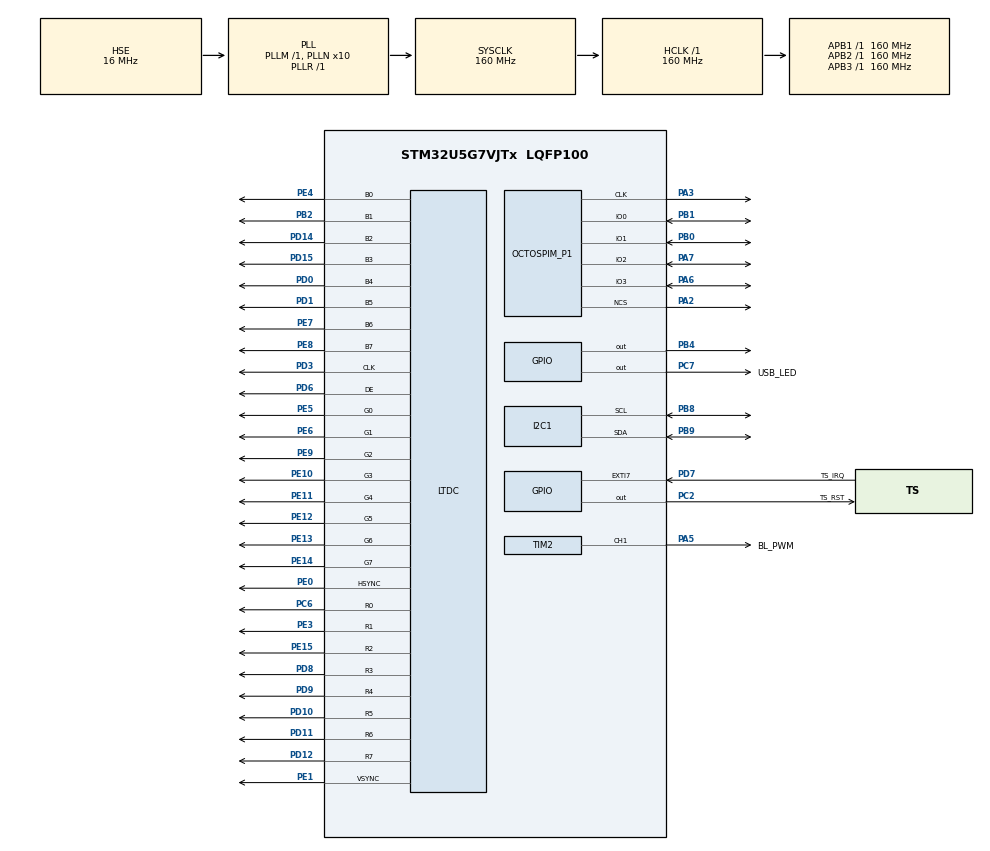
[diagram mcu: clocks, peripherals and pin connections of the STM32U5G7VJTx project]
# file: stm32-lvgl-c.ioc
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CORTEX_M33_NS.AccessPermission-Cortex_Memory_Protection_Unit_Region0_Settings=MPU_REGION_ALL_RW
CORTEX_M33_NS.AllocateAttribute0=MPU_NO_ALLOCATE
CORTEX_M33_NS.Attributes-Cortex_Memory_Protection_Unit_Region0_Settings=MPU_NOT_CACHEABLE
CORTEX_M33_NS.Attributes0=MPU_ATTRIBUTES_NUMBER0
CORTEX_M33_NS.AttributesIndex-Cortex_Memory_Protection_Unit_Region0_Settings=MPU_ATTRIBUTES_NUMBER0
CORTEX_M33_NS.BaseAddress-Cortex_Memory_Protection_Unit_Region0_Settings=0x70000000
CORTEX_M33_NS.CacheableAttribute0=MPU_WRITE_THROUGH
CORTEX_M33_NS.DisableExec-Cortex_Memory_Protection_Unit_Region0_Settings=MPU_INSTRUCTION_ACCESS_DISABLE
CORTEX_M33_NS.Enable-Cortex_Memory_Protection_Unit_Region0_Settings=MPU_REGION_ENABLE
CORTEX_M33_NS.LimitAddress-Cortex_Memory_Protection_Unit_Region0_Settings=0x70400000
CORTEX_M33_NS.MPU_Control=__NULL
CORTEX_M33_NS.Memorytype0=MPU_CACHEABLE
CORTEX_M33_NS.TransientAttribute0=MPU_TRANSIENT
CORTEX_M33_NS.userName=CORTEX_M33
DMA2D.ColorMode=DMA2D_OUTPUT_RGB888
DMA2D.Mode=DMA2D_M2M
I2C1.Timing=0x30909DEC
LTDC.ActiveH=480
LTDC.ActiveW=800
LTDC.Alpha_L0=255
LTDC.BlendingFactor1_L0=LTDC_BLENDING_FACTOR1_PAxCA
LTDC.BlendingFactor2_L0=LTDC_BLENDING_FACTOR2_PAxCA
LTDC.HBP=8
LTDC.HFP=8
LTDC.HSync=4
LTDC.ImageHeight_L0=480
LTDC.ImageWidth_L0=800
LTDC.Layers=0
LTDC.PixelFormat_L0=LTDC_PIXEL_FORMAT_RGB888
LTDC.VBP=16
LTDC.VFP=16
LTDC.WindowX1_L0=800
LTDC.WindowY0_L0=0
LTDC.WindowY1_L0=480
Mcu.Family=STM32U5
Mcu.Name=STM32U5G7VJTx
Mcu.Package=LQFP100
NVIC.EXTI7_IRQn=true\:5\:0\:true\:false\:true\:true\:true\:true
NVIC.GPU2D_ER_IRQn=true\:0\:0\:false\:false\:true\:false\:true\:true
NVIC.GPU2D_IRQn=true\:0\:0\:false\:false\:true\:false\:true\:true
NVIC.I2C1_EV_IRQn=true\:6\:0\:true\:false\:true\:true\:true\:true
NVIC.LTDC_IRQn=true\:7\:0\:true\:false\:true\:true\:true\:true
NVIC.PriorityGroup=NVIC_PRIORITYGROUP_4
OCTOSPI1.ChipSelectBoundary=0
OCTOSPI1.ChipSelectHighTime=2
OCTOSPI1.DelayHoldQuarterCycle=HAL_OSPI_DHQC_DISABLE
OCTOSPI1.DeviceSize=21
OCTOSPI1.DeviceType=SPI_DEVICE_FLASH
OCTOSPI1.FreeRunningClock=HAL_OSPI_FREERUNCLK_DISABLE
PA10.Signal=USART1_RX
PA13\ (JTMS/SWDIO).Mode=Trace_Synchro_4bits_JTAG
PA13\ (JTMS/SWDIO).Signal=DEBUG_JTMS-SWDIO
PA14\ (JTCK/SWCLK).Mode=Trace_Synchro_4bits_JTAG
PA14\ (JTCK/SWCLK).Signal=DEBUG_JTCK-SWCLK
PA15\ (JTDI).Mode=Trace_Synchro_4bits_JTAG
PA15\ (JTDI).Signal=DEBUG_JTDI
PA2.Mode=OCTOSPI1_Port1_NCS
PA2.Signal=OCTOSPIM_P1_NCS
PA3.Mode=O1_P1_CLK
PA3.Signal=OCTOSPIM_P1_CLK
PA5.GPIO_Label=BL_PWM
PA5.Signal=S_TIM2_CH1
PA6.Mode=OCTOSPI1_IOL_Port1L
PA6.Signal=OCTOSPIM_P1_IO3
PA7.Mode=OCTOSPI1_IOL_Port1L
PA7.Signal=OCTOSPIM_P1_IO2
PA9.Signal=USART1_TX
PB0.Mode=OCTOSPI1_IOL_Port1L
PB0.Signal=OCTOSPIM_P1_IO1
PB1.Mode=OCTOSPI1_IOL_Port1L
PB1.Signal=OCTOSPIM_P1_IO0
PB13.Signal=SPI2_SCK
PB14.Signal=SPI2_MISO
PB15.Signal=SPI2_MOSI
PB2.Mode=RGB888
PB2.Signal=LTDC_B1
PB3\ (JTDO/TRACESWO).Mode=Trace_Synchro_4bits_JTAG
PB3\ (JTDO/TRACESWO).Signal=DEBUG_JTDO-SWO
PB4\ (NJTRST).PinAttribute=Free
PB4\ (NJTRST).Signal=GPIO_Output
PB5.GPIO_Label=BUZZER
PB5.PinAttribute=Free
PB5.Signal=S_TIM3_CH2
PB8.Mode=I2C
PB8.Signal=I2C1_SCL
PB9.Mode=I2C
PB9.Signal=I2C1_SDA
PC10.Mode=Trace_Synchro_4bits_JTAG
PC10.Signal=DEBUG_TRACED1
PC12.Mode=Trace_Synchro_4bits_JTAG
PC12.Signal=DEBUG_TRACED3
PC2.GPIO_Label=TS_RST
PC2.Signal=GPIO_Output
PC4.Signal=USART3_TX
PC6.Mode=RGB888
PC6.Signal=LTDC_R0
PC7.GPIO_Label=USB_LED
PC7.Signal=GPIO_Output
PC9.Mode=Trace_Synchro_4bits_JTAG
PC9.Signal=DEBUG_TRACED0
PD0.Mode=RGB888
PD0.Signal=LTDC_B4
PD1.Mode=RGB888
PD1.PinAttribute=Free
PD1.Signal=LTDC_B5
PD10.Mode=RGB888
PD10.Signal=LTDC_R5
PD11.Mode=RGB888
PD11.Signal=LTDC_R6
PD12.Mode=RGB888
PD12.Signal=LTDC_R7
PD14.Mode=RGB888
PD14.Signal=LTDC_B2
PD15.Mode=RGB888
PD15.Signal=LTDC_B3
PD2.Mode=Trace_Synchro_4bits_JTAG
PD2.Signal=DEBUG_TRACED2
PD3.Mode=RGB888
PD3.PinAttribute=Free
PD3.Signal=LTDC_CLK
PD6.Mode=RGB888
PD6.PinAttribute=Free
PD6.Signal=LTDC_DE
PD7.GPIO_Label=TS_IRQ
PD7.PinAttribute=Free
PD7.Signal=GPXTI7
PD8.Mode=RGB888
PD8.Signal=LTDC_R3
PD9.Mode=RGB888
PD9.Signal=LTDC_R4
PE0.Mode=RGB888
PE0.Signal=LTDC_HSYNC
PE1.Mode=RGB888
PE1.Signal=LTDC_VSYNC
PE10.Mode=RGB888
PE10.Signal=LTDC_G3
PE11.Mode=RGB888
PE11.Signal=LTDC_G4
PE12.Mode=RGB888
PE12.Signal=LTDC_G5
PE13.Mode=RGB888
PE13.Signal=LTDC_G6
PE14.Mode=RGB888
PE14.Signal=LTDC_G7
PE15.Mode=RGB888
PE15.Signal=LTDC_R2
PE2.Mode=Trace_Synchro_4bits_JTAG
PE2.Signal=DEBUG_TRACECLK
PE3.Mode=RGB888
PE3.Signal=LTDC_R1
PE4.Mode=RGB888
PE4.Signal=LTDC_B0
PE5.Mode=RGB888
PE5.Signal=LTDC_G0
PE6.Mode=RGB888
PE6.Signal=LTDC_G1
PE7.Mode=RGB888
PE7.Signal=LTDC_B6
PE8.Mode=RGB888
PE8.Signal=LTDC_B7
PE9.Mode=RGB888
PE9.Signal=LTDC_G2
PH0-OSC_IN\ (PH0).Mode=HSE-External-Oscillator
PH0-OSC_IN\ (PH0).Signal=RCC_OSC_IN
PH1-OSC_OUT\ (PH1).Mode=HSE-External-Oscillator
PH1-OSC_OUT\ (PH1).Signal=RCC_OSC_OUT
ProjectManager.HeapSize=0x400
ProjectManager.StackSize=0x400
ProjectManager.TargetToolchain=STM32CubeIDE
RCC.ADCFreq_Value=16000000
RCC.AHBFreq_Value=160000000
RCC.APB1Freq_Value=160000000
RCC.APB1TimFreq_Value=160000000
RCC.APB2Freq_Value=160000000
RCC.APB2TimFreq_Value=160000000
RCC.APB3Freq_Value=160000000
RCC.CortexFreq_Value=160000000
RCC.EPOD_VALUE=16000000
RCC.HCLKFreq_Value=160000000
RCC.HSE_VALUE=16000000
RCC.HSI48_VALUE=48000000
RCC.HSICalibrationValue=16
RCC.HSI_VALUE=16000000
RCC.LSE_VALUE=32768
RCC.LSIDIV_VALUE=32000
RCC.LTDCCLockSelection=RCC_LTDCCLKSOURCE_PLL3
RCC.MSIClockRange=RCC_MSIRANGE_0
RCC.MSI_VALUE=48000000
RCC.OCTOSPIMCLockSelection=RCC_OSPICLKSOURCE_PLL2
RCC.PLL1P=8
RCC.PLL1R=1
RCC.PLL2FRACN=0
RCC.PLL2M=4
RCC.PLL2N=66
RCC.PLL2Q=4
RCC.PLL2Source=RCC_PLLSOURCE_HSE
RCC.PLL3FRACN=0
RCC.PLL3M=4
RCC.PLL3N=50
RCC.PLL3R=8
RCC.PLL3Source=RCC_PLLSOURCE_HSE
RCC.PLLFRACN=0
RCC.PLLN=10
RCC.PLLSourceVirtual=RCC_PLLSOURCE_HSE
RCC.SYSCLKFreq_VALUE=160000000
RCC.SYSCLKSource=RCC_SYSCLKSOURCE_PLLCLK
RCC.VCOOutputFreq_Value=160000000
SH.S_TIM2_CH1.0=TIM2_CH1,PWM Generation1 CH1
SH.S_TIM3_CH2.0=TIM3_CH2
TIM2.Channel-PWM\ Generation1\ CH1=TIM_CHANNEL_1
TIM2.ClockDivision=TIM_CLOCKDIVISION_DIV4
TIM2.PeriodNoDither=40000
TIM2.PulseNoDither_1=35000
VP_DCACHE1_VS_DCACHE.Mode=DCACHE_Activate
VP_DCACHE2_VS_DCACHE.Mode=DCACHE_Activate
VP_DMA2D_VS_DMA2D.Mode=DMA2D_Activate
VP_GPU2D_VS_GPU2D.Mode=GPU2D_Activate
VP_ICACHE_VS_ICACHE.Mode=DirectMappedCache
VP_LPBAMQUEUE_VS_QUEUE.Mode=QUEUEMODE
VP_LPBAM_VS_SIG1.Mode=SmartRun
VP_LPBAM_VS_SIG4.Mode=LPDMA1
VP_MEMORYMAP_VS_MEMORYMAP.Mode=CurAppReg
VP_OCTOSPI1_VS_quad.Mode=quad_mode
VP_PWR_VS_SECSignals.Mode=Security/Privilege
board=custom

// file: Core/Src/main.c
/* USER CODE BEGIN Header */
/**
  ******************************************************************************
  * @file           : main.c
  * @brief          : Main program body
  ******************************************************************************
  * @attention
  *
  * Copyright (c) 2024 STMicroelectronics.
  * All rights reserved.
  *
  * This software is licensed under terms that can be found in the LICENSE file
  * in the root directory of this software component.
  * If no LICENSE file comes with this software, it is provided AS-IS.
  *
  ******************************************************************************
  */
/* USER CODE END Header */
#include "main.h"

/* USER CODE BEGIN Includes */
#include "lvgl/lvgl.h"
#include "lvgl/demos/lv_demos.h"
#include "hal_stm_lvgl/tft/tft.h"
#include "hal_stm_lvgl/touchpad/touchpad.h"
#include "hal_stm_lvgl/scene/scene.h"
#include "hal_is25lp032d/is25lp032d_lae.h"
#include "hal_is25lp032d/is25lp032d.h"

//#define DELAY_TICKER
#ifdef DELAY_TICKER
#include <stdio.h>
#endif

/* USER CODE END Includes */

DCACHE_HandleTypeDef hdcache1;
DCACHE_HandleTypeDef hdcache2;

DMA2D_HandleTypeDef hdma2d;

GPU2D_HandleTypeDef hgpu2d;

I2C_HandleTypeDef hi2c1;

LTDC_HandleTypeDef hltdc;

OSPI_HandleTypeDef hospi1;

TIM_HandleTypeDef htim2;

void SystemClock_Config(void);
static void MX_GPIO_Init(void);
static void MX_I2C1_Init(void);
static void MX_LTDC_Init(void);
static void MX_OCTOSPI1_Init(void);
static void MX_DMA2D_Init(void);
static void MX_ICACHE_Init(void);
static void MX_DCACHE1_Init(void);
static void MX_DCACHE2_Init(void);
static void MX_GPU2D_Init(void);
static void MX_TIM2_Init(void);

int main(void)
{

  /* MCU Configuration--------------------------------------------------------*/

  /* Reset of all peripherals, Initializes the Flash interface and the Systick. */
  HAL_Init();

  /* Configure the system clock */
  SystemClock_Config();

  /* Initialize all configured peripherals */
  MX_GPIO_Init();
  MX_I2C1_Init();
  MX_LTDC_Init();
  MX_OCTOSPI1_Init();
  MX_DMA2D_Init();
  MX_ICACHE_Init();
  MX_DCACHE1_Init();
  MX_DCACHE2_Init();
  MX_GPU2D_Init();
  MX_TIM2_Init();
  /* USER CODE BEGIN 2 */
  HAL_TIM_PWM_Start(&htim2, TIM_CHANNEL_1);
  tft_init();
  touchpad_init();
  // lv_demo_benchmark();
  // create_test_scene();
  create_image_scroller();
  // create_image_library();
#ifdef DELAY_TICKER
  uint32_t ticker = HAL_GetTick();
  uint32_t delay = 0;
#endif
  /* USER CODE END 2 */

  /* Infinite loop */
  while (1)
  {

    /* USER CODE BEGIN 3 */
    uint32_t timestamp = HAL_GetTick();
  	lv_timer_handler();
#ifndef DELAY_TICKER
    if ((HAL_GetTick() - timestamp) <= 15)
      HAL_Delay(1);
#else
    if ((HAL_GetTick() - timestamp) >= 3)
    {
      // the last call was the actual rendering
      if ((HAL_GetTick() - ticker) >= 10000)
      {
        ticker = HAL_GetTick();
        delay++;
        printf("delay: %ld\n", delay);
      }
      HAL_Delay(delay);
    }
#endif

    // update_image_position();
  }
  /* USER CODE END 3 */
}

void SystemClock_Config(void)
{
  RCC_OscInitTypeDef RCC_OscInitStruct = {0};
  RCC_ClkInitTypeDef RCC_ClkInitStruct = {0};

  /** Configure the main internal regulator output voltage
  */
  if (HAL_PWREx_ControlVoltageScaling(PWR_REGULATOR_VOLTAGE_SCALE1) != HAL_OK)
  {
    Error_Handler();
  }

  /** Initializes the CPU, AHB and APB buses clocks
  */
  RCC_OscInitStruct.OscillatorType = RCC_OSCILLATORTYPE_HSE;
  RCC_OscInitStruct.HSEState = RCC_HSE_ON;
  RCC_OscInitStruct.PLL.PLLState = RCC_PLL_ON;
  RCC_OscInitStruct.PLL.PLLSource = RCC_PLLSOURCE_HSE;
  RCC_OscInitStruct.PLL.PLLMBOOST = RCC_PLLMBOOST_DIV1;
  RCC_OscInitStruct.PLL.PLLM = 1;
  RCC_OscInitStruct.PLL.PLLN = 10;
  RCC_OscInitStruct.PLL.PLLP = 8;
  RCC_OscInitStruct.PLL.PLLQ = 2;
  RCC_OscInitStruct.PLL.PLLR = 1;
  RCC_OscInitStruct.PLL.PLLRGE = RCC_PLLVCIRANGE_1;
  RCC_OscInitStruct.PLL.PLLFRACN = 0;
  if (HAL_RCC_OscConfig(&RCC_OscInitStruct) != HAL_OK)
  {
    Error_Handler();
  }

  /** Initializes the CPU, AHB and APB buses clocks
  */
  RCC_ClkInitStruct.ClockType = RCC_CLOCKTYPE_HCLK|RCC_CLOCKTYPE_SYSCLK
                              |RCC_CLOCKTYPE_PCLK1|RCC_CLOCKTYPE_PCLK2
                              |RCC_CLOCKTYPE_PCLK3;
  RCC_ClkInitStruct.SYSCLKSource = RCC_SYSCLKSOURCE_PLLCLK;
  RCC_ClkInitStruct.AHBCLKDivider = RCC_SYSCLK_DIV1;
  RCC_ClkInitStruct.APB1CLKDivider = RCC_HCLK_DIV1;
  RCC_ClkInitStruct.APB2CLKDivider = RCC_HCLK_DIV1;
  RCC_ClkInitStruct.APB3CLKDivider = RCC_HCLK_DIV1;

  if (HAL_RCC_ClockConfig(&RCC_ClkInitStruct, FLASH_LATENCY_4) != HAL_OK)
  {
    Error_Handler();
  }
}

static void MX_DCACHE1_Init(void)
{

  hdcache1.Instance = DCACHE1;
  hdcache1.Init.ReadBurstType = DCACHE_READ_BURST_WRAP;
  if (HAL_DCACHE_Init(&hdcache1) != HAL_OK)
  {
    Error_Handler();
  }

}

static void MX_DCACHE2_Init(void)
{

  hdcache2.Instance = DCACHE2;
  hdcache2.Init.ReadBurstType = DCACHE_READ_BURST_WRAP;
  if (HAL_DCACHE_Init(&hdcache2) != HAL_OK)
  {
    Error_Handler();
  }
   __HAL_RCC_SYSCFG_CLK_ENABLE();
   HAL_SYSCFG_DisableSRAMCached();

}

static void MX_DMA2D_Init(void)
{

  hdma2d.Instance = DMA2D;
  hdma2d.Init.Mode = DMA2D_M2M;
  hdma2d.Init.ColorMode = DMA2D_OUTPUT_RGB888;
  hdma2d.Init.OutputOffset = 0;
  hdma2d.Init.BytesSwap = DMA2D_BYTES_REGULAR;
  hdma2d.Init.LineOffsetMode = DMA2D_LOM_PIXELS;
  hdma2d.LayerCfg[1].InputOffset = 0;
  hdma2d.LayerCfg[1].InputColorMode = DMA2D_INPUT_RGB888;
  hdma2d.LayerCfg[1].AlphaMode = DMA2D_NO_MODIF_ALPHA;
  hdma2d.LayerCfg[1].InputAlpha = 0;
  hdma2d.LayerCfg[1].AlphaInverted = DMA2D_REGULAR_ALPHA;
  hdma2d.LayerCfg[1].RedBlueSwap = DMA2D_RB_REGULAR;
  if (HAL_DMA2D_Init(&hdma2d) != HAL_OK)
  {
    Error_Handler();
  }
  if (HAL_DMA2D_ConfigLayer(&hdma2d, 1) != HAL_OK)
  {
    Error_Handler();
  }

}

static void MX_GPU2D_Init(void)
{

  hgpu2d.Instance = GPU2D;
  if (HAL_GPU2D_Init(&hgpu2d) != HAL_OK)
  {
    Error_Handler();
  }

}

static void MX_I2C1_Init(void)
{

  hi2c1.Instance = I2C1;
  hi2c1.Init.Timing = 0x30909DEC;
  hi2c1.Init.OwnAddress1 = 0;
  hi2c1.Init.AddressingMode = I2C_ADDRESSINGMODE_7BIT;
  hi2c1.Init.DualAddressMode = I2C_DUALADDRESS_DISABLE;
  hi2c1.Init.OwnAddress2 = 0;
  hi2c1.Init.OwnAddress2Masks = I2C_OA2_NOMASK;
  hi2c1.Init.GeneralCallMode = I2C_GENERALCALL_DISABLE;
  hi2c1.Init.NoStretchMode = I2C_NOSTRETCH_DISABLE;
  if (HAL_I2C_Init(&hi2c1) != HAL_OK)
  {
    Error_Handler();
  }

  /** Configure Analogue filter
  */
  if (HAL_I2CEx_ConfigAnalogFilter(&hi2c1, I2C_ANALOGFILTER_ENABLE) != HAL_OK)
  {
    Error_Handler();
  }

  /** Configure Digital filter
  */
  if (HAL_I2CEx_ConfigDigitalFilter(&hi2c1, 0) != HAL_OK)
  {
    Error_Handler();
  }

}

static void MX_ICACHE_Init(void)
{

  /** Enable instruction cache in 1-way (direct mapped cache)
  */
  if (HAL_ICACHE_ConfigAssociativityMode(ICACHE_1WAY) != HAL_OK)
  {
    Error_Handler();
  }
  if (HAL_ICACHE_Enable() != HAL_OK)
  {
    Error_Handler();
  }

}

static void MX_LTDC_Init(void)
{

  LTDC_LayerCfgTypeDef pLayerCfg = {0};

  hltdc.Instance = LTDC;
  hltdc.Init.HSPolarity = LTDC_HSPOLARITY_AL;
  hltdc.Init.VSPolarity = LTDC_VSPOLARITY_AL;
  hltdc.Init.DEPolarity = LTDC_DEPOLARITY_AL;
  hltdc.Init.PCPolarity = LTDC_PCPOLARITY_IPC;
  hltdc.Init.HorizontalSync = 3;
  hltdc.Init.VerticalSync = 3;
  hltdc.Init.AccumulatedHBP = 11;
  hltdc.Init.AccumulatedVBP = 19;
  hltdc.Init.AccumulatedActiveW = 811;
  hltdc.Init.AccumulatedActiveH = 499;
  hltdc.Init.TotalWidth = 819;
  hltdc.Init.TotalHeigh = 515;
  hltdc.Init.Backcolor.Blue = 0;
  hltdc.Init.Backcolor.Green = 0;
  hltdc.Init.Backcolor.Red = 0;
  if (HAL_LTDC_Init(&hltdc) != HAL_OK)
  {
    Error_Handler();
  }
  pLayerCfg.WindowX0 = 0;
  pLayerCfg.WindowX1 = 800;
  pLayerCfg.WindowY0 = 0;
  pLayerCfg.WindowY1 = 480;
  pLayerCfg.PixelFormat = LTDC_PIXEL_FORMAT_RGB888;
  pLayerCfg.Alpha = 255;
  pLayerCfg.Alpha0 = 0;
  pLayerCfg.BlendingFactor1 = LTDC_BLENDING_FACTOR1_PAxCA;
  pLayerCfg.BlendingFactor2 = LTDC_BLENDING_FACTOR2_PAxCA;
  pLayerCfg.FBStartAdress = 0;
  pLayerCfg.ImageWidth = 800;
  pLayerCfg.ImageHeight = 480;
  pLayerCfg.Backcolor.Blue = 0;
  pLayerCfg.Backcolor.Green = 0;
  pLayerCfg.Backcolor.Red = 0;
  if (HAL_LTDC_ConfigLayer(&hltdc, &pLayerCfg, 0) != HAL_OK)
  {
    Error_Handler();
  }

}

static void MX_OCTOSPI1_Init(void)
{

  OSPIM_CfgTypeDef sOspiManagerCfg = {0};
  HAL_OSPI_DLYB_CfgTypeDef HAL_OSPI_DLYB_Cfg_Struct = {0};

  /* OCTOSPI1 parameter configuration*/
  hospi1.Instance = OCTOSPI1;
  hospi1.Init.FifoThreshold = 1;
  hospi1.Init.DualQuad = HAL_OSPI_DUALQUAD_DISABLE;
  hospi1.Init.MemoryType = HAL_OSPI_MEMTYPE_MICRON;
  hospi1.Init.DeviceSize = 21;
  hospi1.Init.ChipSelectHighTime = 2;
  hospi1.Init.FreeRunningClock = HAL_OSPI_FREERUNCLK_DISABLE;
  hospi1.Init.ClockMode = HAL_OSPI_CLOCK_MODE_0;
  hospi1.Init.WrapSize = HAL_OSPI_WRAP_NOT_SUPPORTED;
  hospi1.Init.ClockPrescaler = 1;
  hospi1.Init.SampleShifting = HAL_OSPI_SAMPLE_SHIFTING_NONE;
  hospi1.Init.DelayHoldQuarterCycle = HAL_OSPI_DHQC_DISABLE;
  hospi1.Init.ChipSelectBoundary = 0;
  hospi1.Init.DelayBlockBypass = HAL_OSPI_DELAY_BLOCK_BYPASSED;
  hospi1.Init.MaxTran = 0;
  hospi1.Init.Refresh = 0;
  if (HAL_OSPI_Init(&hospi1) != HAL_OK)
  {
    Error_Handler();
  }
  sOspiManagerCfg.ClkPort = 1;
  sOspiManagerCfg.NCSPort = 1;
  sOspiManagerCfg.IOLowPort = HAL_OSPIM_IOPORT_1_LOW;
  if (HAL_OSPIM_Config(&hospi1, &sOspiManagerCfg, HAL_OSPI_TIMEOUT_DEFAULT_VALUE) != HAL_OK)
  {
    Error_Handler();
  }
  HAL_OSPI_DLYB_Cfg_Struct.Units = 0;
  HAL_OSPI_DLYB_Cfg_Struct.PhaseSel = 0;
  if (HAL_OSPI_DLYB_SetConfig(&hospi1, &HAL_OSPI_DLYB_Cfg_Struct) != HAL_OK)
  {
    Error_Handler();
  }
  /* USER CODE BEGIN OCTOSPI1_Init 2 */

// #define USE_IS25LP032D_LAE_DRIVER
// #define USE_IS25LP032D_CUSTOM_STR_DRIVER
#define USE_IS25LP032D_CUSTOM_DTR_DRIVER

  /* Reset flash memory */
  if (IS25LP032D_ResetEnable(&hospi1, IS25LP032D_SPI_MODE) != IS25LP032D_OK)
    Error_Handler();

  if (IS25LP032D_ResetMemory(&hospi1, IS25LP032D_SPI_MODE) != IS25LP032D_OK)
    Error_Handler();

  if (IS25LP032D_ResetEnable(&hospi1, IS25LP032D_QPI_MODE) != IS25LP032D_OK)
    Error_Handler();

  if (IS25LP032D_ResetMemory(&hospi1, IS25LP032D_QPI_MODE) != IS25LP032D_OK)
    Error_Handler();

  HAL_Delay(IS25LP032D_RESET_MAX_TIME);

  /* Enable write operations */
  if (IS25LP032D_WriteEnable(&hospi1, IS25LP032D_SPI_MODE) != IS25LP032D_OK)
    Error_Handler();

  //   /* Write Configuration register 2 (with new dummy cycles) */
  //   MX66UW1G45G_WriteCfg2Register(&hxspi1, MX66UW1G45G_SPI_MODE, MX66UW1G45G_STR_TRANSFER, MX66UW1G45G_CR2_REG3_ADDR, MX66UW1G45G_CR2_DC_6_CYCLES);

  //   /* Enable write operations */
  //   MX66UW1G45G_WriteEnable(&hxspi1, MX66UW1G45G_SPI_MODE, MX66UW1G45G_STR_TRANSFER);

  /* Clear QE (if set) and enable QPI mode  */
  uint8_t status_register = 0;
  if (IS25LP032D_ReadStatusRegister(&hospi1, IS25LP032D_SPI_MODE, &status_register) != IS25LP032D_OK)
    Error_Handler();

  status_register &= ~IS25LP032D_SR_QE_QUAD_ENABLE;

  if (IS25LP032D_WriteStatusRegister(&hospi1, IS25LP032D_SPI_MODE, status_register) != IS25LP032D_OK)
    Error_Handler();

  HAL_Delay(IS25LP032D_WRITE_REG_MAX_TIME);

#if defined(USE_IS25LP032D_CUSTOM_STR_DRIVER) || defined(USE_IS25LP032D_CUSTOM_DTR_DRIVER)
  if (IS25LP032D_EnterQPIMode(&hospi1) != IS25LP032D_OK)
    Error_Handler();

  /* Enable memory mapped mode with STR transfers */
#ifdef USE_IS25LP032D_CUSTOM_STR_DRIVER
  if (IS25LP032D_EnableMemoryMappedModeSTR(&hospi1, IS25LP032D_QPI_MODE) != IS25LP032D_OK)
    Error_Handler();
#else
  if (IS25LP032D_EnableMemoryMappedModeDTR(&hospi1, IS25LP032D_QPI_MODE) != IS25LP032D_OK)
    Error_Handler();
#endif

#elif defined(USE_IS25LP032D_LAE_DRIVER)

  if (OSPI_ResetChip() != HAL_OK)
    Error_Handler();

  HAL_Delay(5);

  if (OSPI_WriteEnable() != HAL_OK)
    Error_Handler();

  if (OSPI_Configuration() != HAL_OK)
    Error_Handler();

  if(OSPI_EnableMemoryMappedMode() != HAL_OK)
    Error_Handler();
#else
  #error "No flash driver selected"
#endif

  /* USER CODE END OCTOSPI1_Init 2 */

}

static void MX_TIM2_Init(void)
{

  TIM_MasterConfigTypeDef sMasterConfig = {0};
  TIM_OC_InitTypeDef sConfigOC = {0};

  htim2.Instance = TIM2;
  htim2.Init.Prescaler = 0;
  htim2.Init.CounterMode = TIM_COUNTERMODE_UP;
  htim2.Init.Period = 40000;
  htim2.Init.ClockDivision = TIM_CLOCKDIVISION_DIV4;
  htim2.Init.AutoReloadPreload = TIM_AUTORELOAD_PRELOAD_DISABLE;
  if (HAL_TIM_PWM_Init(&htim2) != HAL_OK)
  {
    Error_Handler();
  }
  sMasterConfig.MasterOutputTrigger = TIM_TRGO_RESET;
  sMasterConfig.MasterSlaveMode = TIM_MASTERSLAVEMODE_DISABLE;
  if (HAL_TIMEx_MasterConfigSynchronization(&htim2, &sMasterConfig) != HAL_OK)
  {
    Error_Handler();
  }
  sConfigOC.OCMode = TIM_OCMODE_PWM1;
  sConfigOC.Pulse = 35000;
  sConfigOC.OCPolarity = TIM_OCPOLARITY_HIGH;
  sConfigOC.OCFastMode = TIM_OCFAST_DISABLE;
  if (HAL_TIM_PWM_ConfigChannel(&htim2, &sConfigOC, TIM_CHANNEL_1) != HAL_OK)
  {
    Error_Handler();
  }
  HAL_TIM_MspPostInit(&htim2);

}

static void MX_GPIO_Init(void)
{
  GPIO_InitTypeDef GPIO_InitStruct = {0};

  /* GPIO Ports Clock Enable */
  __HAL_RCC_GPIOE_CLK_ENABLE();
  __HAL_RCC_GPIOC_CLK_ENABLE();
  __HAL_RCC_GPIOH_CLK_ENABLE();
  __HAL_RCC_GPIOA_CLK_ENABLE();
  __HAL_RCC_GPIOB_CLK_ENABLE();
  __HAL_RCC_GPIOD_CLK_ENABLE();

  /*Configure GPIO pin Output Level */
  HAL_GPIO_WritePin(GPIOC, TS_RST_Pin|USB_LED_Pin, GPIO_PIN_RESET);

  /*Configure GPIO pin Output Level */
  HAL_GPIO_WritePin(GPIOB, GPIO_PIN_4, GPIO_PIN_RESET);

  /*Configure GPIO pins : PC13 PC14 PC15 PC0
                           PC1 PC3 PC5 PC8
                           PC11 */
  GPIO_InitStruct.Pin = GPIO_PIN_13|GPIO_PIN_14|GPIO_PIN_15|GPIO_PIN_0
                          |GPIO_PIN_1|GPIO_PIN_3|GPIO_PIN_5|GPIO_PIN_8
                          |GPIO_PIN_11;
  GPIO_InitStruct.Mode = GPIO_MODE_ANALOG;
  GPIO_InitStruct.Pull = GPIO_NOPULL;
  HAL_GPIO_Init(GPIOC, &GPIO_InitStruct);

  /*Configure GPIO pins : TS_RST_Pin USB_LED_Pin */
  GPIO_InitStruct.Pin = TS_RST_Pin|USB_LED_Pin;
  GPIO_InitStruct.Mode = GPIO_MODE_OUTPUT_PP;
  GPIO_InitStruct.Pull = GPIO_NOPULL;
  GPIO_InitStruct.Speed = GPIO_SPEED_FREQ_LOW;
  HAL_GPIO_Init(GPIOC, &GPIO_InitStruct);

  /*Configure GPIO pins : PA0 PA1 PA4 PA8
                           PA11 PA12 */
  GPIO_InitStruct.Pin = GPIO_PIN_0|GPIO_PIN_1|GPIO_PIN_4|GPIO_PIN_8
                          |GPIO_PIN_11|GPIO_PIN_12;
  GPIO_InitStruct.Mode = GPIO_MODE_ANALOG;
  GPIO_InitStruct.Pull = GPIO_NOPULL;
  HAL_GPIO_Init(GPIOA, &GPIO_InitStruct);

  /*Configure GPIO pin : PC4 */
  GPIO_InitStruct.Pin = GPIO_PIN_4;
  GPIO_InitStruct.Mode = GPIO_MODE_AF_PP;
  GPIO_InitStruct.Pull = GPIO_NOPULL;
  GPIO_InitStruct.Speed = GPIO_SPEED_FREQ_LOW;
  GPIO_InitStruct.Alternate = GPIO_AF7_USART3;
  HAL_GPIO_Init(GPIOC, &GPIO_InitStruct);

  /*Configure GPIO pins : PB10 PB12 PB6 PB7 */
  GPIO_InitStruct.Pin = GPIO_PIN_10|GPIO_PIN_12|GPIO_PIN_6|GPIO_PIN_7;
  GPIO_InitStruct.Mode = GPIO_MODE_ANALOG;
  GPIO_InitStruct.Pull = GPIO_NOPULL;
  HAL_GPIO_Init(GPIOB, &GPIO_InitStruct);

  /*Configure GPIO pins : PB13 PB14 PB15 */
  GPIO_InitStruct.Pin = GPIO_PIN_13|GPIO_PIN_14|GPIO_PIN_15;
  GPIO_InitStruct.Mode = GPIO_MODE_AF_PP;
  GPIO_InitStruct.Pull = GPIO_NOPULL;
  GPIO_InitStruct.Speed = GPIO_SPEED_FREQ_LOW;
  GPIO_InitStruct.Alternate = GPIO_AF5_SPI2;
  HAL_GPIO_Init(GPIOB, &GPIO_InitStruct);

  /*Configure GPIO pins : PD13 PD4 PD5 */
  GPIO_InitStruct.Pin = GPIO_PIN_13|GPIO_PIN_4|GPIO_PIN_5;
  GPIO_InitStruct.Mode = GPIO_MODE_ANALOG;
  GPIO_InitStruct.Pull = GPIO_NOPULL;
  HAL_GPIO_Init(GPIOD, &GPIO_InitStruct);

  /*Configure GPIO pins : PA9 PA10 */
  GPIO_InitStruct.Pin = GPIO_PIN_9|GPIO_PIN_10;
  GPIO_InitStruct.Mode = GPIO_MODE_AF_PP;
  GPIO_InitStruct.Pull = GPIO_NOPULL;
  GPIO_InitStruct.Speed = GPIO_SPEED_FREQ_LOW;
  GPIO_InitStruct.Alternate = GPIO_AF7_USART1;
  HAL_GPIO_Init(GPIOA, &GPIO_InitStruct);

  /*Configure GPIO pin : TS_IRQ_Pin */
  GPIO_InitStruct.Pin = TS_IRQ_Pin;
  GPIO_InitStruct.Mode = GPIO_MODE_IT_RISING;
  GPIO_InitStruct.Pull = GPIO_NOPULL;
  HAL_GPIO_Init(TS_IRQ_GPIO_Port, &GPIO_InitStruct);

  /*Configure GPIO pin : PB4 */
  GPIO_InitStruct.Pin = GPIO_PIN_4;
  GPIO_InitStruct.Mode = GPIO_MODE_OUTPUT_PP;
  GPIO_InitStruct.Pull = GPIO_NOPULL;
  GPIO_InitStruct.Speed = GPIO_SPEED_FREQ_LOW;
  HAL_GPIO_Init(GPIOB, &GPIO_InitStruct);

  /*Configure GPIO pin : PB5 */
  GPIO_InitStruct.Pin = GPIO_PIN_5;
  GPIO_InitStruct.Mode = GPIO_MODE_AF_PP;
  GPIO_InitStruct.Pull = GPIO_NOPULL;
  GPIO_InitStruct.Speed = GPIO_SPEED_FREQ_LOW;
  GPIO_InitStruct.Alternate = GPIO_AF2_TIM3;
  HAL_GPIO_Init(GPIOB, &GPIO_InitStruct);

  /*Configure GPIO pin : PH3 */
  GPIO_InitStruct.Pin = GPIO_PIN_3;
  GPIO_InitStruct.Mode = GPIO_MODE_ANALOG;
  GPIO_InitStruct.Pull = GPIO_NOPULL;
  HAL_GPIO_Init(GPIOH, &GPIO_InitStruct);

  /* EXTI interrupt init*/
  HAL_NVIC_SetPriority(EXTI7_IRQn, 5, 0);
  HAL_NVIC_EnableIRQ(EXTI7_IRQn);

}

void Error_Handler(void)
{
  __disable_irq();
  while (1)
  {
  }
}
